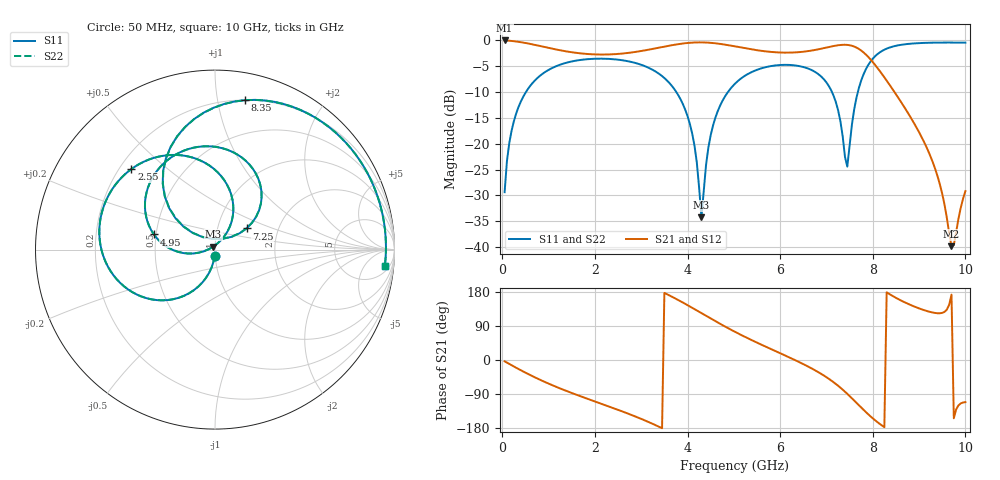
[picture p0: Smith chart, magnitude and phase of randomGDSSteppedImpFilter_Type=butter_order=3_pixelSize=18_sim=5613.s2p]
! freq	dB(S11)	phase(S11)	dB(S12)	phase(S12)
!  dB(S21)	phase(S21)	dB(S22)	phase(S22)
!S-par simulation data
#  GHz  S  DB  R 50
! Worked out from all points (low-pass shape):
!   200 points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, 50 MHz to 10 GHz, reference 50 ohm
!   highest |S21| = -0.01 dB at 50 MHz (marker M1); lowest = -39.8 dB at 9.7 GHz (marker M2)
!   |S21| within 3 dB of the highest: start of sweep to 7.881 GHz
!   lowest |S11| = -34.2 dB at 4.3 GHz (marker M3), VSWR 1.04, Z = 49.1 + j1.69 ohm
!   |S11| at or under -10 dB: start of sweep to 510.5 MHz; 3.758 GHz to 4.872 GHz (1.114 GHz wide, 25.8 % of centre); 7.119 GHz to 7.678 GHz (559.3 MHz wide, 7.56 % of centre)
!   |S22| runs from -34.1 to -0.4 dB; largest |S21 - S12| = 0
!   S11 on the Smith chart (normalised r, x): 50 MHz: 0.99, -0.07; 2.55 GHz: 0.25, +0.38; 4.95 GHz: 0.49, +0.09; 7.25 GHz: 1.38, +0.34; 8.35 GHz: 0.20, +1.20; 10 GHz: 9, -16
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0.05  -29.39 -93.6  -0.01 -3.5  -0.01 -3.5  -29.39 -93.6
0.2  -17.50 -104.3  -0.10 -13.8  -0.10 -13.8  -17.50 -104.3
0.5  -10.15 -124.0  -0.49 -33.4  -0.49 -33.4  -10.15 -124.0
1.05  -5.46 -155.5  -1.55 -65.0  -1.55 -65.0  -5.46 -155.5
1.75  -3.71 171.2  -2.56 -98.4  -2.56 -98.4  -3.71 171.2
2.55  -3.79 136.0  -2.58 -133.8  -2.58 -133.8  -3.79 136.0
3.4  -6.56 93.8  -1.38 -177.0  -1.38 -177.0  -6.56 93.8
4.05  -16.16 57.3  -0.46 141.3  -0.46 141.3  -16.16 57.4
4.2  -23.59 56.6  -0.39 130.8  -0.39 130.8  -23.58 56.9
4.3  -34.24 117.5  -0.38 123.7  -0.38 123.7  -34.10 117.5
4.5  -18.35 -169.8  -0.47 109.6  -0.47 109.6  -18.35 -169.9
4.95  -9.10 166.1  -1.03 79.1  -1.03 79.1  -9.10 166.1
5.05  -8.17 160.2  -1.19 72.8  -1.19 72.8  -8.16 160.1
6  -4.76 107.4  -2.34 17.9  -2.34 17.9  -4.76 107.4
6.7  -5.83 67.9  -1.93 -23.5  -1.93 -23.5  -5.83 67.9
7.25  -13.47 33.8  -0.94 -67.8  -0.94 -67.8  -13.46 34.0
7.45  -24.44 100.1  -0.87 -89.3  -0.87 -89.3  -24.30 99.9
7.75  -7.77 133.3  -1.96 -125.5  -1.96 -125.5  -7.77 133.1
8.35  -1.42 78.6  -8.43 174.7  -8.43 174.7  -1.42 78.5
9.3  -0.43 24.6  -23.69 125.1  -23.69 125.1  -0.43 24.5
9.7  -0.41 6.9  -39.84 172.3  -39.84 172.3  -0.41 6.8
10  -0.44 -5.5  -29.18 -111.2  -29.18 -111.2  -0.44 -5.5
